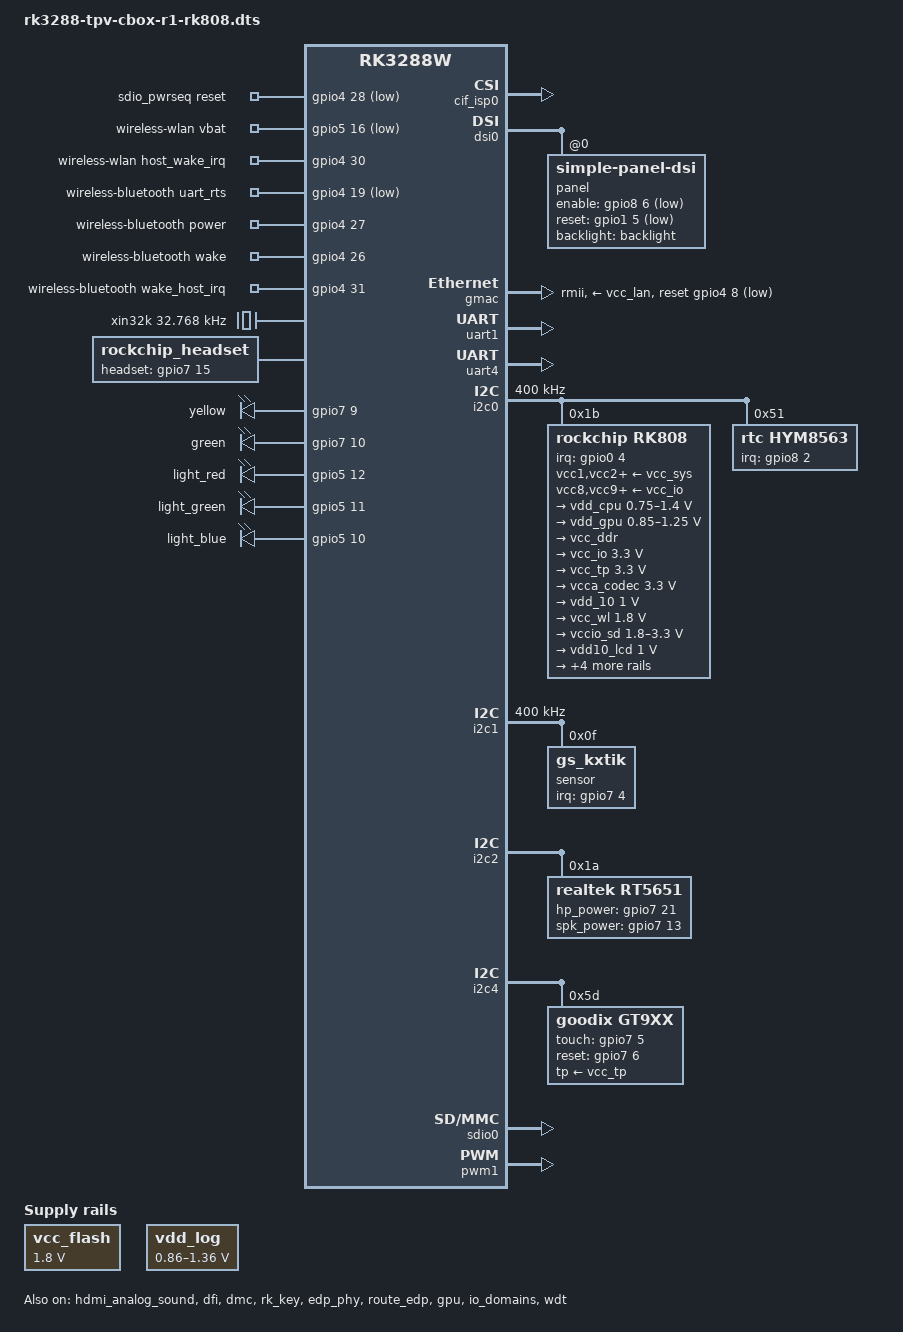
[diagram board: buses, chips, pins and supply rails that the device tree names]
/*
 * This file is dual-licensed: you can use it either under the terms
 * of the GPL or the X11 license, at your option. Note that this dual
 * licensing only applies to this file, and not this project as a
 * whole.
 *
 *  a) This file is free software; you can redistribute it and/or
 *     modify it under the terms of the GNU General Public License as
 *     published by the Free Software Foundation; either version 2 of the
 *     License, or (at your option) any later version.
 *
 *     This file is distributed in the hope that it will be useful,
 *     but WITHOUT ANY WARRANTY; without even the implied warranty of
 *     MERCHANTABILITY or FITNESS FOR A PARTICULAR PURPOSE.  See the
 *     GNU General Public License for more details.
 *
 * Or, alternatively,
 *
 *  b) Permission is hereby granted, free of charge, to any person
 *     obtaining a copy of this software and associated documentation
 *     files (the "Software"), to deal in the Software without
 *     restriction, including without limitation the rights to use,
 *     copy, modify, merge, publish, distribute, sublicense, and/or
 *     sell copies of the Software, and to permit persons to whom the
 *     Software is furnished to do so, subject to the following
 *     conditions:
 *
 *     The above copyright notice and this permission notice shall be
 *     included in all copies or substantial portions of the Software.
 *
 *     THE SOFTWARE IS PROVIDED "AS IS", WITHOUT WARRANTY OF ANY KIND,
 *     EXPRESS OR IMPLIED, INCLUDING BUT NOT LIMITED TO THE WARRANTIES
 *     OF MERCHANTABILITY, FITNESS FOR A PARTICULAR PURPOSE AND
 *     NONINFRINGEMENT. IN NO EVENT SHALL THE AUTHORS OR COPYRIGHT
 *     HOLDERS BE LIABLE FOR ANY CLAIM, DAMAGES OR OTHER LIABILITY,
 *     WHETHER IN AN ACTION OF CONTRACT, TORT OR OTHERWISE, ARISING
 *     FROM, OUT OF OR IN CONNECTION WITH THE SOFTWARE OR THE USE OR
 *     OTHER DEALINGS IN THE SOFTWARE.
 */

/dts-v1/;
#include "rk3288-evb.dtsi"
#include "rk3288-android.dtsi"
#include <dt-bindings/sensor-dev.h>

/ {
	compatible = "rockchip,rk3288-tpv-cbox-r1-rk808", "rockchip,rk3288w";

	sdio_pwrseq: sdio-pwrseq {
		status = "okay";
		compatible = "mmc-pwrseq-simple";
		clocks = <&rk808 1>;
		clock-names = "ext_clock";
		pinctrl-names = "default";
		pinctrl-0 = <&wifi_enable_h>;

		/*
		 * On the module itself this is one of these (depending
		 * on the actual card populated):
		 * - SDIO_RESET_L_WL_REG_ON
		 * - PDN (power down when low)
		 */
		reset-gpios = <&gpio4 28 GPIO_ACTIVE_LOW>;
	};

	vcc_flash: vcc-flash {
		compatible = "regulator-fixed";
		regulator-name = "vcc_flash";
		regulator-always-on;
		regulator-boot-on;
		regulator-min-microvolt = <1800000>;
		regulator-max-microvolt = <1800000>;
	};

	/*
	vcc_wifi: vcc-wifi-regulator {
		compatible = "regulator-fixed";
		//enable-active-high;
		gpio = <&gpio5 16 GPIO_ACTIVE_LOW>;
		pinctrl-names = "default";
		pinctrl-0 = <&wl_en>;
		regulator-name = "vcc_wifi";
		regulator-min-microvolt = <3300000>;
		regulator-max-microvolt = <3300000>;
		regulator-always-on;
		regulator-boot-on;
	};
	*/
	wireless-wlan {
		compatible = "wlan-platdata";
		rockchip,grf = <&grf>;
		wifi_chip_type = "ap6256";
		sdio_vref =<1800>;
		WIFI,vbat_gpio = <&gpio5 16 GPIO_ACTIVE_LOW>; 
		WIFI,host_wake_irq = <&gpio4 30 GPIO_ACTIVE_HIGH>;
		status = "okay";
	};

	wireless-bluetooth {
		compatible = "bluetooth-platdata";
		clocks = <&rk808 1>;
		clock-names = "ext_clock";
		/* wifi-bt-power-toggle; */
		uart_rts_gpios = <&gpio4 19 GPIO_ACTIVE_LOW>;
		pinctrl-names = "default", "rts_gpio";
		pinctrl-0 = <&uart0_rts>;
		pinctrl-1 = <&uart0_gpios>;
		BT,power_gpio  = <&gpio4 27 GPIO_ACTIVE_HIGH>; 
		//BT,reset_gpio    = <&gpio3 5 GPIO_ACTIVE_HIGH>;
		BT,wake_gpio     = <&gpio4 26 GPIO_ACTIVE_HIGH>;
		BT,wake_host_irq = <&gpio4 31 GPIO_ACTIVE_HIGH>;
		status = "okay";
	};


	/delete-node/ sdmmc-regulator;

	vdd_log: vdd-logic {
		compatible = "pwm-regulator";
		rockchip,pwm_id = <1>;
		rockchip,pwm_voltage = <1100000>;
		pwms = <&pwm1 0 25000 1>;
		regulator-name = "vcc_log";
		regulator-min-microvolt = <860000>;
		regulator-max-microvolt = <1360000>;
		regulator-always-on;
		regulator-boot-on;
	};

	xin32k: xin32k {
		compatible = "fixed-clock";
		clock-frequency = <32768>;
		clock-output-names = "xin32k";
		#clock-cells = <0>;
	};

	rockchip_headset {
		status = "okay";
		compatible = "rockchip_headset";
		headset_gpio = <&gpio7 15 GPIO_ACTIVE_HIGH>;
		//io-channels = <&saradc 2>;
		pinctrl-names = "default";
		pinctrl-0 = <&headset_det>;
	};

	gpio-leds {
		compatible = "gpio-leds";
		lightre_gpio = <&gpio5 19 GPIO_ACTIVE_HIGH>;
		lightge_gpio = <&gpio5 18 GPIO_ACTIVE_HIGH>;
		lightbe_gpio = <&gpio5 17 GPIO_ACTIVE_HIGH>;
		pinctrl-names = "default";
		pinctrl-0 =<&leds_gpio>;

		led-yellow {
			gpios = <&gpio7 9 GPIO_ACTIVE_HIGH>;
			label = "yellow";
			retain-state-suspended;
			default-state = "on";
			linux,default-trigger = "none";
			status = "okay";
		};

		led-green {
			gpios = <&gpio7 10 GPIO_ACTIVE_HIGH>;
			label = "green";
			default-state = "on";
			linux,default-trigger = "none";
			status = "okay";
		};

		slight_r {			
			gpios = <&gpio5 12 GPIO_ACTIVE_HIGH>;
			label = "light_red";
			retain-state-suspended;
			default-state = "off";
			linux,default-trigger = "none";
			status = "okay";

		};


		slight_g {			
			gpios = <&gpio5 11 GPIO_ACTIVE_HIGH>;
			label = "light_green";
			retain-state-suspended;
			default-state = "off";
			linux,default-trigger = "none";
			status = "okay";

		};

		slight_b {			
			gpios = <&gpio5 10 GPIO_ACTIVE_HIGH>;
			label = "light_blue";
			retain-state-suspended;
			default-state = "off";
			linux,default-trigger = "none";
			status = "okay";

		};
	};
};

&hdmi_analog_sound {
	status = "okay";
	rockchip,model = "realtek,rt5651-codec";
	rockchip,codec = <&rt5651>, <&hdmi>;
};

&cpu0 {
	cpu-supply = <&vdd_cpu>;
};

&cif_isp0 {
	status = "okay";
};

&dfi {
	status = "okay";
};

&dmc {
	center-supply = <&vdd_log>;
	status = "okay";
};

&rk_key {
		compatible = "rockchip,key";
		status = "okay";

		io-channels = <&saradc 1>;

		vol-up-key {
			linux,code = <115>;
			label = "volume up";
			rockchip,adc_value = <1>;
		};

		vol-down-key {
			linux,code = <114>;
			label = "volume down";
			rockchip,adc_value = <170>;
		};
		/*
		power-key {
			gpios = <&gpio5 13 GPIO_ACTIVE_LOW>;
			linux,code = <116>;
			pinctrl-names = "default";
			pinctrl-0 = <&pwrbtn>;
			label = "power";
			gpio-key,wakeup;
		};
		*/
		reset-key {
			gpios = <&gpio7 7 GPIO_ACTIVE_LOW>;
			linux,code = <249>;
			pinctrl-names = "default";
			pinctrl-0 = <&rstbtn>;
			label = "reset";
			gpio-key;
		};

		menu-key {
			gpios = <&gpio5 13 GPIO_ACTIVE_LOW>;
			linux,code = <59>;
			pinctrl-names = "default";
			pinctrl-0 = <&menubtn>;
			label = "menu";
			gpio-key;
		};

		home-key {
			linux,code = <102>;
			label = "home";
			rockchip,adc_value = <746>;
		};

		back-key {
			linux,code = <158>;
			label = "back";
			rockchip,adc_value = <560>;
		};

		camera-key {
			linux,code = <212>;
			label = "camera";
			rockchip,adc_value = <450>;
		};
	};

&edp {
	status = "disabled";
};

/*&edp_panel {
	compatible = "simple-panel";
	backlight = <&backlight>;
	enable-gpios = <&gpio7 4 GPIO_ACTIVE_HIGH>;
	enable-delay-ms = <120>;
	pinctrl-0 = <&lcd_cs>;
	power-supply = <&vcc_io>;
	status = "disabled";

	disp_timings: display-timings {
		native-mode = <&timing0>;

		timing0: timing0 {
			clock-frequency = <200000000>;
			hactive = <1536>;
			vactive = <2048>;
			hfront-porch = <12>;
			hsync-len = <16>;
			hback-porch = <48>;
			vfront-porch = <8>;
			vsync-len = <4>;
			vback-porch = <8>;
			hsync-active = <0>;
			vsync-active = <0>;
			de-active = <0>;
			pixelclk-active = <0>;
		};
	};
};
*/
&dsi0 {
	status = "okay";
	//rockchip,lane-rate = <900>;

	panel: panel@0  {
		compatible = "simple-panel-dsi";
		reg = <0>;
		backlight = <&backlight>; 
		//power-supply = <&vcc_io>;
		cs-gpios = <&gpio8 7 GPIO_ACTIVE_HIGH>; 
		enable-gpios = <&gpio8 6 GPIO_ACTIVE_LOW>;
		reset-gpios = <&gpio1 5 GPIO_ACTIVE_LOW>;
		dsi,flags = <(MIPI_DSI_MODE_VIDEO | MIPI_DSI_MODE_VIDEO_BURST | MIPI_DSI_MODE_LPM | MIPI_DSI_MODE_EOT_PACKET)>;
		dsi,format = <MIPI_DSI_FMT_RGB888>;
		dsi,lanes = <4>;
		reset-delay-ms = <120>;
		init-delay-ms = <120>;
		enable-delay-ms = <120>;
		prepare-delay-ms = <20>;
		unprepare-delay-ms = <120>;
		disable-delay-ms = <120>;
		pinctrl-names = "default";
		pinctrl-0 = <&dsi_drv>;
		status = "okay";

		//DCS Packet
		panel-init-sequence = [

			39 00 05 FF AA 55 25 01
			15 01 02 FC 08
			15 00 02 FC 00
			39 14 05 FF AA 55 25 00
			39 00 06 F0 55 AA 52 08 00
			39 00 03 B1 68 01
			39 00 05 B8 01 02 02 02 
			15 00 02 B6 11
			39 00 03 BB 63 63
			39 00 03 BC 00 00
			39 00 06 BD 02 BB 11 10 00
			15 00 02 C8 80
			39 00 06 F0 55 AA 52 08 01 
			39 00 03 B3 28 28
			39 00 03 B4 14 14
			39 00 03 B9 44 44
			39 00 03 BA 24 24
			39 00 03 BC 78 00
			39 00 03 BD 78 00
			39 00 06 F0 55 AA 52 08 02
			15 00 02 EE 01
			39 00 11 B0 00 00 00 1A 00 40 00 5B 00 73 00 9A 00 BA 00 EE
			39 00 11 B1 01 16 01 57 01 89 01 D5 02 12 02 13 02 4C 02 87
			39 00 11 B2 02 AC 02 DD 02 FE 03 29 03 49 03 6D 03 8A 03 AC
			39 00 05 B3 03 C9 03 cD
			39 00 06 F0 55 AA 52 08 03
			39 00 03 B0 00 00
			39 00 03 B1 00 00
			39 00 06 B2 05 01 55 00 1A
			39 00 06 BA 53 01 55 00 3A
			15 00 02 C4 60
			15 00 02 C5 40
			39 00 06 F0 55 AA 52 08 04
			39 00 05 B1 03 02 05 07
			39 00 06 F0 55 AA 52 08 05
			39 00 06 BD 01 01 00 00 03
			15 00 02 C0 09
			39 00 03 C8 07 38
			39 00 06 D1 00 05 01 00 00
			15 00 02 E5 03
			15 00 02 E6 03
			15 00 02 E9 03
			15 00 02 EA 03
			39 00 06 F0 55 AA 52 08 06
			39 00 03 B0 2D 2D
			39 00 03 B1 01 01
			39 00 03 B2 34 34 
			39 00 03 B3 2E 2E
			39 00 03 B4 2E 2D
			39 00 03 B5 2D 13
			39 00 03 B6 13 11
			39 00 03 B7 11 36
			39 00 03 B8 36 15
			39 00 03 B9 15 2E
			39 00 03 BA 2E 14
			39 00 03 BB 14 35
			39 00 03 BC 35 10
			39 00 03 BD 10 12
			39 00 03 BE 12 2D
			39 00 03 BF 2D 2E
			39 00 03 C0 2E 2E
			39 00 03 C1 34 34
			39 00 03 C2 00 00
			39 00 03 C3 2D 2D
			39 00 03 C4 2E 2E
			39 00 03 C5 00 00
			39 00 03 C6 34 34
			39 00 03 C7 2D 2D
			39 00 03 C8 2E 2D
			39 00 03 C9 2D 14
			39 00 03 CA 14 35
			39 00 03 CB 35 10
			39 00 03 CC 10 12
			39 00 03 CD 12 2E
			39 00 03 CE 2E 13
			39 00 03 CF 13 11
			39 00 03 D0 11 36
			39 00 03 D1 36 15
			39 00 03 D2 15 2D
			39 00 03 D3 2D 2E
			39 00 03 D4 2D 2D
			39 00 03 D5 34 34
			39 00 03 D6 01 01
			39 00 03 D7 2E 2E
			39 00 06 D8 00 00 00 00 00
			39 00 06 D9 00 00 00 00 00
			39 00 03 E5 34 34
			39 00 03 E6 34 34
			39 00 03 E8 34 34
			39 00 03 E9 34 34
			39 00 06 F0 55 AA 52 00 00

			15 00 02 35 00
			05 00 01 11
			05 78 01 29
		];
		panel-exit-sequence = [
			05 05 01 28
			05 78 01 10
		];

	disp_timings: display-timings {
			native-mode = <&timing0>;

			timing0: timing0 {
				clock-frequency = <83400000>;
				hactive = <800>;
				vactive = <1280>;
				hback-porch = <64>;
				hfront-porch = <180>;
				vback-porch = <12>;
				vfront-porch = <16>;
				hsync-len = <4>;
				vsync-len = <16>;
				hsync-active = <0>;
				vsync-active = <0>;
				de-active = <0>;
				pixelclk-active = <0>;
			};
		};
	};
};


&route_dsi0 {
	status = "disabled";
};

&gmac {
	phy-supply = <&vcc_lan>;
	phy-mode = "rmii";
	clock_in_out = "input";
	snps,reset-gpio = <&gpio4 8 0>;
	snps,reset-active-low;
	snps,reset-delays-us = <0 10000 50000>;
	assigned-clocks = <&cru SCLK_MAC>;
	assigned-clock-parents = <&ext_gmac>;
	pinctrl-names = "default";
	pinctrl-0 = <&rmii_pins>;
	tx_delay = <0x30>;
	rx_delay = <0x10>;
	max-speed = <100>;
	status = "okay";
};

&edp_phy {
	status = "okay";
};

&route_edp {
	status = "okay";
};

&gpu {
	status = "okay";
	mali-supply = <&vdd_gpu>;
};

&hdmi_analog_sound {
	status = "okay";
	rockchip,widgets =
		"Microphone", "Mic Jack",
		"Headphone", "Headphone Jack";
	rockchip,routing =
		"Mic Jack", "MICBIAS1",
		"IN1P", "Mic Jack",
		"Headphone Jack", "HPOL",
		"Headphone Jack", "HPOR";
};

&uart1 {
	status = "okay";
};

&uart4 {
	status = "okay";
};

&i2c0 {
	clock-frequency = <400000>;

	rk808: pmic@1b {
		compatible = "rockchip,rk808";
		reg = <0x1b>;
		interrupt-parent = <&gpio0>;
		interrupts = <4 IRQ_TYPE_LEVEL_LOW>;
		pinctrl-names = "default";
		pinctrl-0 = <&pmic_int &global_pwroff>;
		rockchip,system-power-controller;
		wakeup-source;
		#clock-cells = <1>;
		clock-output-names = "rk808-clkout1", "rk808-clkout2";

		vcc1-supply = <&vcc_sys>;
		vcc2-supply = <&vcc_sys>;
		vcc3-supply = <&vcc_sys>;
		vcc4-supply = <&vcc_sys>;
		vcc6-supply = <&vcc_sys>;
		vcc8-supply = <&vcc_io>;
		vcc9-supply = <&vcc_io>;
		vcc12-supply = <&vcc_io>;
		vddio-supply = <&vcc_io>;

		regulators {
			vdd_cpu: DCDC_REG1 {
				regulator-always-on;
				regulator-boot-on;
				regulator-min-microvolt = <750000>;
				regulator-max-microvolt = <1400000>;
				regulator-name = "vdd_arm";
				regulator-state-mem {
					regulator-off-in-suspend;
				};
			};

			vdd_gpu: DCDC_REG2 {
				regulator-always-on;
				regulator-boot-on;
				regulator-min-microvolt = <850000>;
				regulator-max-microvolt = <1250000>;
				regulator-name = "vdd_gpu";
				regulator-ramp-delay = <6000>;
				regulator-state-mem {
					regulator-off-in-suspend;
				};
			};

			vcc_ddr: DCDC_REG3 {
				regulator-always-on;
				regulator-boot-on;
				regulator-name = "vcc_ddr";
				regulator-state-mem {
					regulator-on-in-suspend;
				};
			};

			vcc_io: DCDC_REG4 {
				regulator-always-on;
				regulator-boot-on;
				regulator-min-microvolt = <3300000>;
				regulator-max-microvolt = <3300000>;
				regulator-name = "vcc_io";
				regulator-state-mem {
					regulator-on-in-suspend;
					regulator-suspend-microvolt = <3300000>;
				};
			};

			vcc_tp: LDO_REG1 {
				regulator-always-on;
				regulator-boot-on;
				regulator-min-microvolt = <3300000>;
				regulator-max-microvolt = <3300000>;
				regulator-name = "vcc_tp";
				regulator-state-mem {
					regulator-off-in-suspend;
				};
			};
			//Not used, empty.
			vcca_codec: LDO_REG2 {
				regulator-always-on;
				regulator-boot-on;
				regulator-min-microvolt = <3300000>;
				regulator-max-microvolt = <3300000>;
				regulator-name = "vcca_codec";
				regulator-state-mem {
					regulator-on-in-suspend;
					regulator-suspend-microvolt = <3300000>;
				};
			};

			vdd_10: LDO_REG3 {
				regulator-always-on;
				regulator-boot-on;
				regulator-min-microvolt = <1000000>;
				regulator-max-microvolt = <1000000>;
				regulator-name = "vdd_10";
				regulator-state-mem {
					regulator-on-in-suspend;
					regulator-suspend-microvolt = <1000000>;
				};
			};
			////////NOT USED.
			vcc_wl: LDO_REG4 {
				regulator-always-on;
				regulator-boot-on;
				regulator-min-microvolt = <1800000>;
				regulator-max-microvolt = <1800000>;
				regulator-name = "vcc_wl";
				regulator-state-mem {
					regulator-on-in-suspend;
				};
			};

			vccio_sd: LDO_REG5 {
				regulator-always-on;
				regulator-boot-on;
				regulator-min-microvolt = <1800000>;
				regulator-max-microvolt = <3300000>;
				regulator-name = "vccio_sd";
				regulator-state-mem {
					regulator-off-in-suspend;
				};
			};

			vdd10_lcd: LDO_REG6 {
				regulator-always-on;
				regulator-boot-on;
				regulator-min-microvolt = <1000000>;
				regulator-max-microvolt = <1000000>;
				regulator-name = "vdd10_lcd";
				regulator-state-mem {
					regulator-off-in-suspend;
				};
			};

			vcc_18: LDO_REG7 {
				regulator-always-on;
				regulator-boot-on;
				regulator-min-microvolt = <1800000>;
				regulator-max-microvolt = <1800000>;
				regulator-name = "vcc_18";
				regulator-state-mem {
					regulator-on-in-suspend;
					regulator-suspend-microvolt = <1800000>;
				};
			};

			vcc18_lcd: LDO_REG8 {
				regulator-always-on;
				regulator-boot-on;
				regulator-min-microvolt = <1800000>;
				regulator-max-microvolt = <1800000>;
				regulator-name = "vcc18_lcd";
				regulator-state-mem {
					regulator-off-in-suspend;
				};
			};

			vcc_sd: SWITCH_REG1 {
				regulator-always-on;
				regulator-boot-on;
				regulator-min-microvolt = <3300000>;
				regulator-max-microvolt = <3300000>;
				regulator-name = "vcc_sd";
				regulator-state-mem {
					regulator-off-in-suspend;
				};
			};

			vcc_lan: SWITCH_REG2 {
				regulator-always-on;
				regulator-boot-on;
				regulator-min-microvolt = <3300000>;
				regulator-max-microvolt = <3300000>;
				regulator-name = "vcc_lan";
				regulator-state-mem {
					regulator-off-in-suspend;
				};
			};
		};
	};

	hym8563: hym8563@51 {
		compatible = "rtc,hym8563";
		reg = <0x51>;

		irq_gpio = <&gpio8 2 IRQ_TYPE_EDGE_FALLING>;

		pinctrl-names = "default";
		pinctrl-0 = <&rtc_int>;

		#clock-cells = <0>;
	};

	CW2015@62 {
		status = "disabled";
		compatible = "cw201x";
		reg = <0x62>;
		bat_low_gpio = <&gpio0 7 GPIO_ACTIVE_LOW>;
		dc_det_gpio = <&gpio0 8 GPIO_ACTIVE_LOW>;
		chg_ok_gpio = <&gpio0 9 GPIO_ACTIVE_HIGH>;
		bat_config_info = <0x15 0x42 0x60 0x59 0x52 0x58 0x4D 0x48 0x48 0x44 0x44 0x46 0x49 0x48 0x32
			0x24 0x20 0x17 0x13 0x0F 0x19 0x3E 0x51 0x45 0x08 0x76 0x0B 0x85 0x0E 0x1C 0x2E 0x3E 0x4D 0x52 0x52
			0x57 0x3D 0x1B 0x6A 0x2D 0x25 0x43 0x52 0x87 0x8F 0x91 0x94 0x52 0x82 0x8C 0x92 0x96 0xFF 0x7B 0xBB
			0xCB 0x2F 0x7D 0x72 0xA5 0xB5 0xC1 0x46 0xAE>;
		is_dc_charge = <1>;
		is_usb_charge = <0>;
		monitor_sec = <5>;
		virtual_power = <0>;
		divider_res1 = <200>;
		divider_res2 = <200>;
	};
};

&i2c1 {
	status = "okay";
	clock-frequency = <400000>;

	// mpu6050@68 {
	// 	compatible = "invensense,mpu6050";
	// 	status = "disabled";
	// 	pinctrl-names = "default";
	// 	pinctrl-0 = <&mpu6050_irq_gpio>;
	// 	reg = <0x68>;
	// 	irq-gpio = <&gpio8 0 IRQ_TYPE_EDGE_RISING>;
	// 	mpu-int_config = <0x10>;
	// 	mpu-level_shifter = <0>;
	// 	mpu-orientation = <0 1 0 1 0 0 0 0 1>;
	// 	orientation-x= <0>;
	// 	orientation-y= <0>;
	// 	orientation-z= <1>;
	// 	support-hw-poweroff = <0>;
	// 	mpu-debug = <1>;
	// };

	ak8963:compass@0d{
		compatible = "mpu_ak8963";
		reg = <0x0d>;
		compass-bus = <0>;
		compass-adapt_num = <0>;
		compass-orientation = <1 0 0 0 1 0 0 0 1>;
		orientation-x= <0>;
		orientation-y= <0>;
		orientation-z= <1>;
		compass-debug = <1>;
		status = "disabled";
	};

	sensor@f {
		status = "okay";
		compatible = "gs_kxtik";
		reg = <0xf>;
		type = <SENSOR_TYPE_ACCEL>;		
		irq-gpio = <&gpio7 4 IRQ_TYPE_LEVEL_LOW>;
		irq_enable = <1>;
		poll_delay_ms = <30>;
		layout = <1>;
	};
};

&i2c2 {

	rt5651: rt5651@1a {
		#sound-dai-cells = <0>;
		compatible = "realtek,rt5651";
		reg = <0x1a>;
		hp_power = <&gpio7 21 GPIO_ACTIVE_HIGH>;
		spk_power = <&gpio7 13 GPIO_ACTIVE_HIGH>;
		clocks = <&cru SCLK_I2S0_OUT>;
		clock-names = "mclk";
		pinctrl-names = "default";
		pinctrl-0 = <&i2s0_mclk>, <&rt5651_gpio>;
	};
};

&i2c4 {
	status = "okay";

	gt9xx: gt9xx@5d {
		compatible = "goodix,gt9xx";
		reg = <0x5d>;
		touch-gpio = <&gpio7 5 IRQ_TYPE_EDGE_RISING>;
		reset-gpio = <&gpio7 6 GPIO_ACTIVE_HIGH>;
		pinctrl-names = "default";
		pinctrl-0 = <&tp_drv>;
		max-x = <800>;
		max-y = <1280>;
		tp-size = <911>;
		tp-supply = <&vcc_tp>;
		status = "okay";
	};
};


&io_domains {
	status = "okay";
	audio-supply = <&vcc_18>;
	bb-supply = <&vcc_io>;
	dvp-supply = <&vcc_io>;
	flash0-supply = <&vcc_flash>;
	flash1-supply = <&vcc_lan>;
	gpio30-supply = <&vcc_io>;
	gpio1830 = <&vcc_io>;
	lcdc-supply = <&vcc_io>;
	sdcard-supply = <&vccio_sd>;
	wifi-supply = <&vcc_18>; //throught vccio_wl
};

&sdio0{

	status = "okay";	
};

&lvds_panel {
	power-supply = <&vcc_io>;
};

&rockchip_suspend {
	status = "okay";
	rockchip,pwm-regulator-config = <
	(0
	| PWM1_REGULATOR_EN
	)
	>;
};
&gsl3673{
	status = "disabled";
};
&pwm1 {
	status = "okay";
	pinctrl-names = "active";
	pinctrl-0 = <&pwm1_pin_pull_down>;
};

&pinctrl {
	// mpu6050 {
	// 	mpu6050_irq_gpio: mpu6050-irq-gpio {
	// 		rockchip,pins = <8 0 RK_FUNC_GPIO &pcfg_pull_none>;
	// 	};
	// };

	wl {
		wl_en: wl-en {
			rockchip,pins = <5 16 RK_FUNC_GPIO &pcfg_pull_none>;
		};
	};

	rt5651 {
		rt5651_gpio: rt5651-gpio {
			rockchip,pins =
				<7 13 RK_FUNC_GPIO &pcfg_pull_none>,
				<7 21 RK_FUNC_GPIO &pcfg_pull_none>;
		};
	};

	hym8563 {
		rtc_int: rtc-int {
			rockchip,pins = <8 2 RK_FUNC_GPIO &pcfg_pull_up>;
		};
	};

	buttons {
		/*
		pwrbtn: pwrbtn {
			rockchip,pins = <0 18 RK_FUNC_GPIO &pcfg_pull_up>;
		};
		*/

		rstbtn: rstbtn {
			rockchip,pins = <7 7 RK_FUNC_GPIO &pcfg_pull_up>;
		};

		menubtn: menubtn {
			rockchip,pins = <5 13 RK_FUNC_GPIO &pcfg_pull_up>;
		};
	};

	headset {
		headset_det: headset-det {
			rockchip,pins = <7 15 RK_FUNC_GPIO &pcfg_pull_none>;
		};
	};

	gpio-leds {
		leds_gpio: leds-gpio {
			rockchip,pins =
				<7 9 RK_FUNC_GPIO &pcfg_pull_none>,
				<7 10 RK_FUNC_GPIO &pcfg_pull_none>,
				<5 10 RK_FUNC_GPIO &pcfg_pull_none>,
				<5 11 RK_FUNC_GPIO &pcfg_pull_none>,
				<5 12 RK_FUNC_GPIO &pcfg_pull_none>,
				<5 17 RK_FUNC_GPIO &pcfg_pull_none>,
				<5 18 RK_FUNC_GPIO &pcfg_pull_none>,
				<5 19 RK_FUNC_GPIO &pcfg_pull_none>;
		};
	};
	dsi_panel {
		dsi_drv: dsi-drv {
			rockchip,pins = <8 7 RK_FUNC_GPIO &pcfg_pull_none>,
							<8 6 RK_FUNC_GPIO &pcfg_pull_none>,
							<1 5 RK_FUNC_GPIO &pcfg_pull_none>;
		};
	};
	
	gt9xx {
		tp_drv: tp-drv {
			rockchip,pins = <7 5 RK_FUNC_GPIO &pcfg_pull_none>,
							<7 6 RK_FUNC_GPIO &pcfg_pull_none>;
		};
	};
};


&uart1 {
	status = "okay";
};

&uart4 {
	status = "okay";
};

&wdt {
	status = "okay";
};

/*
&backlight {
	status = "disabled";
};
*/
//Martin@TPV 20190820 add aoc NEC remote control. USERCODE:0xbd00.
/*
&pwm0 {
	status = "okay";
	interrupts = <GIC_SPI 78 IRQ_TYPE_LEVEL_HIGH>;
	compatible = "rockchip,remotectl-pwm";
	remote_pwm_id = <0>;
	handle_cpu_id = <0>;

	ir_key1{
		rockchip,usercode = <0xbd00>;
		rockchip,key_table =
			<0xfe   KEY_POWER>,
			<0xf5   KEY_MENU>,
			<0xbb   KEY_BACK>,
			<0xae   KEY_HOME>,
			<0xf3   KEY_VOLUMEUP>,
			<0xef   KEY_VOLUMEDOWN>,
			<0xf4   KEY_UP>,
			<0xf0   KEY_DOWN>,
			<0xb6   KEY_LEFT>,
			<0xb5   KEY_RIGHT>,
			<0xf2   KEY_ENTER>,
			<0xf7   KEY_FN>,
			<0xf8   KEY_WWW>;
	};
};
*/


//Martin@TPV 20190820 add aoc RC6 remote control. 
/*
&pwm0{
	interrupts = <GIC_SPI 78 IRQ_TYPE_LEVEL_HIGH>;
	compatible = "rockchip,remotectl-pwm";
	remote_pwm_id = <0>;
	handle_cpu_id = <0>;
	status = "okay";
    pinctrl-names = "default";
    pinctrl-0 = <&pwm0_pin>;

	ir_key1{
		rockchip,protocol_rc6 = <0>;//default nec
		rockchip,usercode = <0xbd00>;
		rockchip,key_table =
			<0xfe   KEY_POWER>,
			<0xf5   KEY_MENU>,
			<0xbb   KEY_BACK>,
			<0xae   KEY_HOME>,
			<0xf3   KEY_VOLUMEUP>,
			<0xef   KEY_VOLUMEDOWN>,
			<0xf4   KEY_UP>,
			<0xf0   KEY_DOWN>,
			<0xb6   KEY_LEFT>,
			<0xb5   KEY_RIGHT>,
			<0xf2   KEY_ENTER>,
			<0xf7   KEY_FN>,
			<0xf8   KEY_WWW>;
	};
	ir_key2{
		rockchip,protocol_rc6 = <1>;//1 means rc6
		rockchip,usercode = <0x0000>;
		rockchip,key_table =
			<0x00   KEY_0>,
			<0x01   KEY_1>,
			<0x02   KEY_2>,
			<0x03   KEY_3>,
			<0x04   KEY_4>,
			<0x05   KEY_5>,
			<0x06   KEY_6>,
			<0x07   KEY_7>,
			<0x08   KEY_8>,
			<0x09   KEY_9>,
			<0x10   KEY_VOLUMEUP>,
			<0x11   KEY_VOLUMEDOWN>,
			<0x58   KEY_UP>,
			<0x59   KEY_DOWN>,
			<0x5a   KEY_LEFT>,
			<0x5b   KEY_RIGHT>,
			<0x5c   KEY_ENTER>,
			<0x0c   KEY_POWER>,
			<0x40   KEY_MENU>,
			<0x0a   KEY_BACK>,
			<0xbe   KEY_HOME>,
			<0x0d   KEY_MUTE>,

			<0x37   KEY_NEXTSONG>,
			<0x76   KEY_PREVIOUSSONG>,
			<0x33   KEY_STOPCD>,
			<0x28   KEY_FASTFORWARD>,
			<0x2b   KEY_REWIND>,
			<0x2c   KEY_PLAYPAUSE>,

			<0x0f   KEY_INFO>,
			<0xcc   KEY_SETUP>,
			<0x52   KEY_APPSELECT>,
			<0x51   KEY_HELP>;
	};
};
*/
